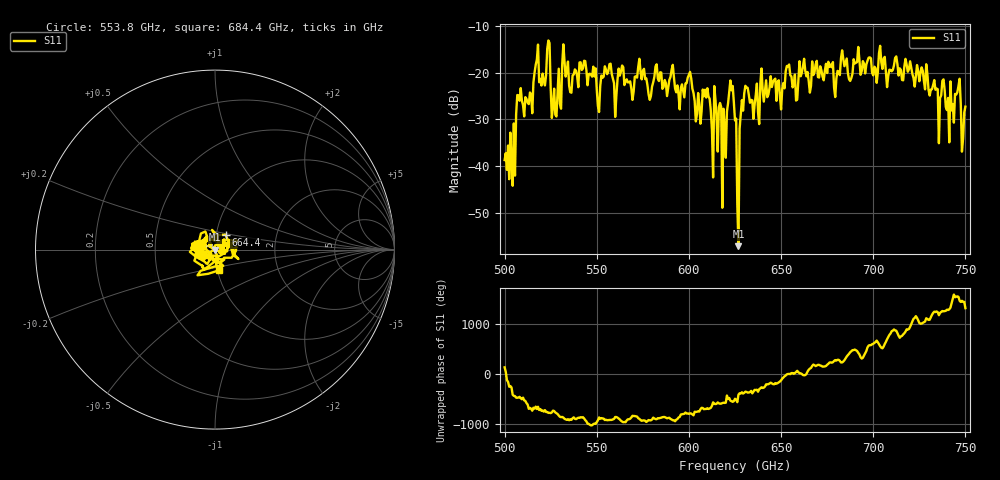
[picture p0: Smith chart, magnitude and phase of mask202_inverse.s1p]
!Created with skrf (http://scikit-rf.org).
# GHz S MA R 50.0
!freq magS11 angS11
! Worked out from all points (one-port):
!   401 points, 500 GHz to 750 GHz, reference 50 ohm
!   lowest |S11| = -57.1 dB at 626.9 GHz (marker M1), VSWR 1.00, Z = 50.1 - j0.106 ohm
!   |S11| at or under -10 dB: start of sweep to end of sweep
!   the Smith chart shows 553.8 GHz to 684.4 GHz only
!   S11 on the Smith chart (normalised r, x): 553.8 GHz: 0.84, -0.03; 664.4 GHz: 1.11, +0.19; 684.4 GHz: 1.02, -0.24
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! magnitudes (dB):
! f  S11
! 500 GHz  -38.7
! 504.4 GHz  -44.2
! 507.5 GHz  -24.9
! 513.8 GHz  -24.3
! 516.9 GHz  -18.3
! 520.6 GHz  -20.2
! 523.8 GHz  -13.1
! 526.9 GHz  -23.4
! 531.2 GHz  -18.3
! 542.5 GHz  -19.1
! 551.2 GHz  -28.4
! 553.8 GHz  -20.9
! 562.5 GHz  -20.6
! 593.8 GHz  -22.7
! 610 GHz  -23.3
! 619.4 GHz  -31.6
! 623.1 GHz  -23.8
! 625 GHz  -30.2
! 625.6 GHz  -29.8
! 626.9 GHz  -57.1
! 628.8 GHz  -25.9
! 631.2 GHz  -23.2
! 656.2 GHz  -23.2
! 664.4 GHz  -19.9
! 684.4 GHz  -18.6
! 687.5 GHz  -21.8
! 718.8 GHz  -19.8
! 750 GHz  -27.3
